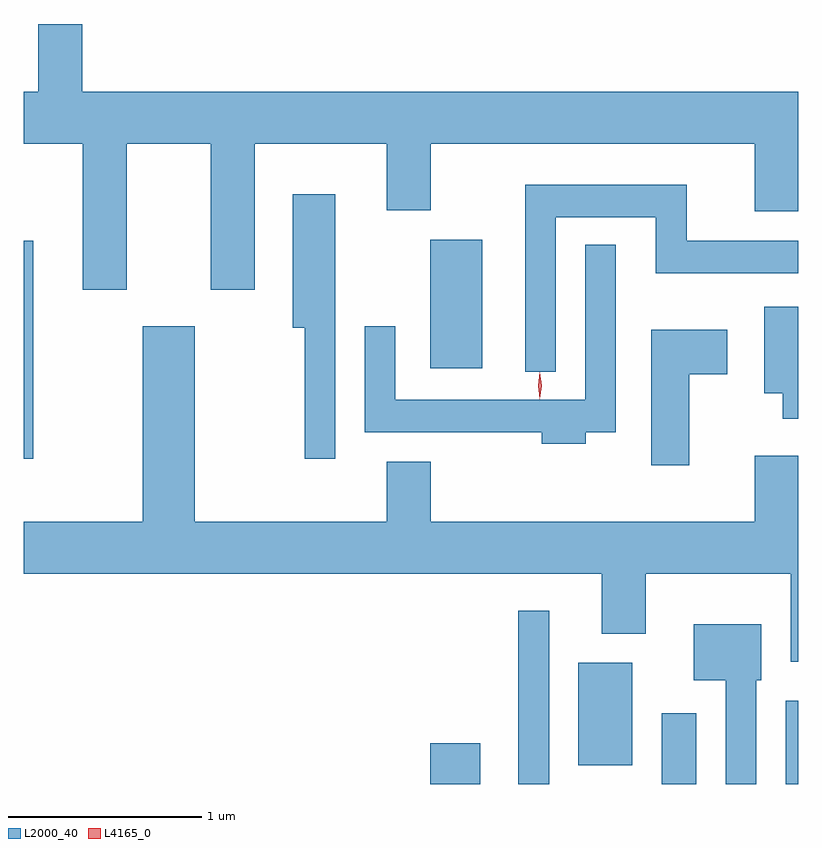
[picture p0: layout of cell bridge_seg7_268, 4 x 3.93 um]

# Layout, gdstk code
import gdstk
lib = gdstk.Library(unit=1e-6, precision=1e-09)
def R(c, l, rs):  # rectangles x0, y0, x1, y1
    for r in rs: c.add(gdstk.rectangle(r[:2], r[2:], *l))
def P(c, l, *ps):  # polygons
    for p in ps: c.add(gdstk.Polygon(p, *l))
L2000_40 = (2000, 40)
L4165_0 = (4165, 0)

bridge_seg7_268 = lib.new_cell('bridge_seg7_268')
R(bridge_seg7_268, L2000_40, [(1260.886,1799.809,1261.144,1800.019), (1261.341,1799.809,1261.499,1800.703), (1262.081,1799.809,1262.259,1800.174), (1262.721,1799.809,1262.786,1800.239), (1261.651,1799.906,1261.929,1800.434), (1258.786,1801.488,1258.834,1802.614), (1260.886,1801.956,1261.154,1802.619)])
P(bridge_seg7_268, L2000_40, [(1259.319,1803.116),(1259.751,1803.116),(1259.751,1802.361),(1259.979,1802.361),(1259.979,1803.116),(1260.661,1803.116),(1260.661,1802.771),(1260.889,1802.771),(1260.889,1803.116),(1262.561,1803.116),(1262.561,1802.766),(1262.786,1802.766),(1262.786,1803.384),(1259.089,1803.384),(1259.089,1803.734),(1258.861,1803.734),(1258.861,1803.384),(1258.786,1803.384),(1258.786,1803.116),(1259.091,1803.116),(1259.091,1802.361),(1259.319,1802.361)],
  [(1261.534,1802.736),(1262.051,1802.736),(1262.051,1802.446),(1262.786,1802.446),(1262.786,1802.614),(1262.209,1802.614),(1262.209,1802.904),(1261.376,1802.904),(1261.376,1801.938),(1261.534,1801.938)],
  [(1260.394,1802.854),(1260.176,1802.854),(1260.176,1802.166),(1260.236,1802.166),(1260.236,1801.488),(1260.394,1801.488)],
  [(1261.689,1801.626),(1261.844,1801.626),(1261.844,1802.593),(1261.686,1802.593),(1261.686,1801.794),(1260.704,1801.794),(1260.704,1802.173),(1260.546,1802.173),(1260.546,1801.626),(1261.461,1801.626),(1261.461,1801.566),(1261.689,1801.566)],
  [(1262.786,1802.274),(1262.611,1802.274),(1262.611,1801.826),(1262.706,1801.826),(1262.706,1801.696),(1262.786,1801.696)],
  [(1262.786,1801.504),(1262.561,1801.504),(1262.561,1801.164),(1260.889,1801.164),(1260.889,1801.474),(1260.661,1801.474),(1260.661,1801.164),(1259.669,1801.164),(1259.669,1802.174),(1259.401,1802.174),(1259.401,1801.164),(1258.786,1801.164),(1258.786,1800.896),(1261.771,1800.896),(1261.771,1800.586),(1261.999,1800.586),(1261.999,1800.896),(1262.746,1800.896),(1262.746,1800.441),(1262.786,1800.441)],
  [(1262.224,1801.926),(1262.419,1801.926),(1262.419,1802.154),(1262.026,1802.154),(1262.026,1801.456),(1262.224,1801.456)],
  [(1262.569,1800.346),(1262.594,1800.346),(1262.594,1800.634),(1262.246,1800.634),(1262.246,1800.346),(1262.411,1800.346),(1262.411,1799.809),(1262.569,1799.809)])
P(bridge_seg7_268, L4165_0, [(1261.452,1801.797),(1261.451,1801.798),(1261.442,1801.867),(1261.451,1801.936),(1261.452,1801.936),(1261.452,1801.936),(1261.462,1801.867),(1261.452,1801.798)])

lib.write_gds('bridge_seg7_268.gds')
